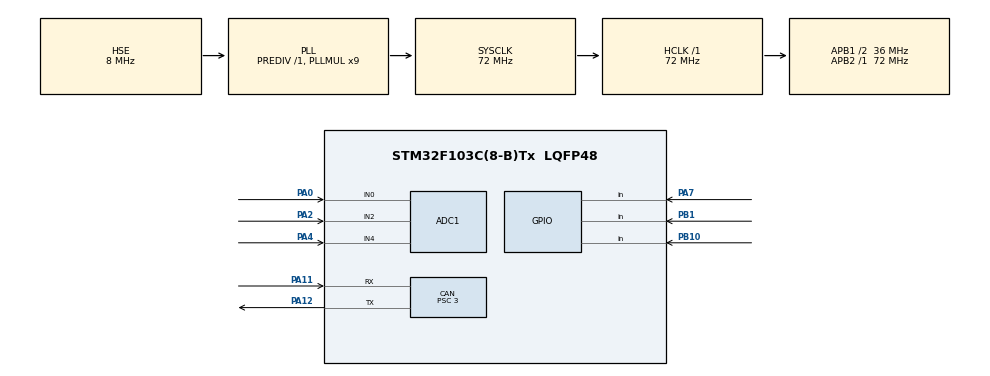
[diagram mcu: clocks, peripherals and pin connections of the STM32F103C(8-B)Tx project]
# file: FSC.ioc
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ADC1.Channel-0\#ChannelRegularConversion=ADC_CHANNEL_0
ADC1.Channel-1\#ChannelRegularConversion=ADC_CHANNEL_2
ADC1.Channel-2\#ChannelRegularConversion=ADC_CHANNEL_4
ADC1.ContinuousConvMode=ENABLE
ADC1.NbrOfConversion=3
ADC1.NbrOfConversionFlag=1
ADC1.Rank-0\#ChannelRegularConversion=1
ADC1.Rank-1\#ChannelRegularConversion=2
ADC1.Rank-2\#ChannelRegularConversion=3
ADC1.SamplingTime-0\#ChannelRegularConversion=ADC_SAMPLETIME_239CYCLES_5
ADC1.SamplingTime-1\#ChannelRegularConversion=ADC_SAMPLETIME_239CYCLES_5
ADC1.SamplingTime-2\#ChannelRegularConversion=ADC_SAMPLETIME_239CYCLES_5
ADC1.master=1
CAN.BS1=CAN_BS1_9TQ
CAN.BS2=CAN_BS2_2TQ
CAN.CalculateTimeBit=1000
CAN.CalculateTimeQuantum=83.33333333333334
CAN.Mode=CAN_MODE_NORMAL
CAN.NART=ENABLE
CAN.Prescaler=3
CAN.SJW=CAN_SJW_1TQ
CAN.TTCM=ENABLE
Dma.ADC1.0.Direction=DMA_PERIPH_TO_MEMORY
Dma.ADC1.0.Instance=DMA1_Channel1
Dma.ADC1.0.MemDataAlignment=DMA_MDATAALIGN_WORD
Dma.ADC1.0.MemInc=DMA_MINC_ENABLE
Dma.ADC1.0.Mode=DMA_CIRCULAR
Dma.ADC1.0.PeriphDataAlignment=DMA_PDATAALIGN_WORD
Dma.ADC1.0.PeriphInc=DMA_PINC_DISABLE
Dma.ADC1.0.Priority=DMA_PRIORITY_LOW
Dma.Request0=ADC1
Mcu.Family=STM32F1
Mcu.Name=STM32F103C(8-B)Tx
Mcu.Package=LQFP48
NVIC.ADC1_2_IRQn=true\:0\:0\:false\:false\:true\:true\:true
NVIC.DMA1_Channel1_IRQn=true\:0\:0\:false\:false\:true\:false\:true
NVIC.PriorityGroup=NVIC_PRIORITYGROUP_4
NVIC.USB_LP_CAN1_RX0_IRQn=true\:0\:0\:false\:false\:true\:true\:true
PA0-WKUP.Signal=ADCx_IN0
PA11.Mode=Master
PA11.Signal=CAN_RX
PA12.Mode=Master
PA12.Signal=CAN_TX
PA13.Mode=Serial_Wire
PA13.Signal=SYS_JTMS-SWDIO
PA14.Mode=Serial_Wire
PA14.Signal=SYS_JTCK-SWCLK
PA2.Signal=ADCx_IN2
PA4.Signal=ADCx_IN4
PA7.GPIO_PuPd=GPIO_PULLUP
PA7.Signal=GPIO_Input
PB1.GPIO_PuPd=GPIO_PULLUP
PB1.Signal=GPIO_Input
PB10.GPIO_PuPd=GPIO_PULLUP
PB10.Signal=GPIO_Input
PD0-OSC_IN.Mode=HSE-External-Oscillator
PD0-OSC_IN.Signal=RCC_OSC_IN
PD1-OSC_OUT.Mode=HSE-External-Oscillator
PD1-OSC_OUT.Signal=RCC_OSC_OUT
ProjectManager.HeapSize=0x200
ProjectManager.StackSize=0x400
ProjectManager.TargetToolchain=MDK-ARM V5
RCC.ADCPresc=RCC_ADCPCLK2_DIV6
RCC.AHBFreq_Value=72000000
RCC.APB1CLKDivider=RCC_HCLK_DIV2
RCC.APB1Freq_Value=36000000
RCC.APB1TimFreq_Value=72000000
RCC.APB2Freq_Value=72000000
RCC.APB2TimFreq_Value=72000000
RCC.HCLKFreq_Value=72000000
RCC.PLLMUL=RCC_PLL_MUL9
RCC.PLLSourceVirtual=RCC_PLLSOURCE_HSE
RCC.SYSCLKFreq_VALUE=72000000
RCC.SYSCLKSource=RCC_SYSCLKSOURCE_PLLCLK
RCC.USBFreq_Value=72000000
SH.ADCx_IN0.0=ADC1_IN0,IN0
SH.ADCx_IN2.0=ADC1_IN2,IN2
SH.ADCx_IN4.0=ADC1_IN4,IN4
board=custom

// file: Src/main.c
/* USER CODE BEGIN Header */
/**
  ******************************************************************************
  * @file           : main.c
  * @brief          : Main program body
  ******************************************************************************
  * @attention
  *
  * <h2><center>&copy; Copyright (c) 2020 STMicroelectronics.
  * All rights reserved.</center></h2>
  *
  * This software component is licensed by ST under BSD 3-Clause license,
  * the "License"; You may not use this file except in compliance with the
  * License. You may obtain a copy of the License at:
  *                        opensource.org/licenses/BSD-3-Clause
  *
  ******************************************************************************
  */
/* USER CODE END Header */
#include "main.h"
#include "adc.h"
#include "can.h"
#include "dma.h"
#include "gpio.h"

/* USER CODE BEGIN PTD */
CAN_FilterTypeDef set_Filter_up;
CAN_TxHeaderTypeDef TxHeader;
CAN_RxHeaderTypeDef RxHeader;
uint32_t TxMailbox;

/* USER CODE END PTD */

/* USER CODE BEGIN PV */
volatile uint8_t flag_can = 1;
uint8_t Can_Data_Send[9];
int i;
uint32_t data[3], value[3], adc_buffer[3];

uint8_t adc_buffer_count = 0;
uint32_t Acc[3] = {0,0,0};
/* USER CODE END PV */

void SystemClock_Config(void);

/* USER CODE BEGIN 0 */
void Can_Rx_Wait(void);
void CAN_Setup(void);
void HAL_ADC_ConvCpltCallback(ADC_HandleTypeDef* hadc);
void CAN_Send_ADC(void);
void CAN_Send_GPIO(void);
/* USER CODE END 0 */

int main(void)
{

  /* MCU Configuration--------------------------------------------------------*/

  /* Reset of all peripherals, Initializes the Flash interface and the Systick. */
  HAL_Init();

  /* Configure the system clock */
  SystemClock_Config();

  /* Initialize all configured peripherals */
  MX_GPIO_Init();
  MX_DMA_Init();
  MX_CAN_Init();
  MX_ADC1_Init();
  /* USER CODE BEGIN 2 */
	CAN_Setup();
	HAL_ADC_Start_DMA( &hadc1 , adc_buffer , 3 );
  /* USER CODE END 2 */

  /* Infinite loop */
  while (1)
  {

  }
}

void SystemClock_Config(void)
{
  RCC_OscInitTypeDef RCC_OscInitStruct = {0};
  RCC_ClkInitTypeDef RCC_ClkInitStruct = {0};
  RCC_PeriphCLKInitTypeDef PeriphClkInit = {0};

  /** Initializes the RCC Oscillators according to the specified parameters
  * in the RCC_OscInitTypeDef structure.
  */
  RCC_OscInitStruct.OscillatorType = RCC_OSCILLATORTYPE_HSE;
  RCC_OscInitStruct.HSEState = RCC_HSE_ON;
  RCC_OscInitStruct.HSEPredivValue = RCC_HSE_PREDIV_DIV1;
  RCC_OscInitStruct.HSIState = RCC_HSI_ON;
  RCC_OscInitStruct.PLL.PLLState = RCC_PLL_ON;
  RCC_OscInitStruct.PLL.PLLSource = RCC_PLLSOURCE_HSE;
  RCC_OscInitStruct.PLL.PLLMUL = RCC_PLL_MUL9;
  if (HAL_RCC_OscConfig(&RCC_OscInitStruct) != HAL_OK)
  {
    Error_Handler();
  }
  /** Initializes the CPU, AHB and APB buses clocks
  */
  RCC_ClkInitStruct.ClockType = RCC_CLOCKTYPE_HCLK|RCC_CLOCKTYPE_SYSCLK
                              |RCC_CLOCKTYPE_PCLK1|RCC_CLOCKTYPE_PCLK2;
  RCC_ClkInitStruct.SYSCLKSource = RCC_SYSCLKSOURCE_PLLCLK;
  RCC_ClkInitStruct.AHBCLKDivider = RCC_SYSCLK_DIV1;
  RCC_ClkInitStruct.APB1CLKDivider = RCC_HCLK_DIV2;
  RCC_ClkInitStruct.APB2CLKDivider = RCC_HCLK_DIV1;

  if (HAL_RCC_ClockConfig(&RCC_ClkInitStruct, FLASH_LATENCY_2) != HAL_OK)
  {
    Error_Handler();
  }
  PeriphClkInit.PeriphClockSelection = RCC_PERIPHCLK_ADC;
  PeriphClkInit.AdcClockSelection = RCC_ADCPCLK2_DIV6;
  if (HAL_RCCEx_PeriphCLKConfig(&PeriphClkInit) != HAL_OK)
  {
    Error_Handler();
  }
}

/* USER CODE BEGIN 4 */
void CAN_Setup(void){
//---------Configurações de filtro e máscara---------

	set_Filter_up.FilterIdHigh = 0x400<<5;
	set_Filter_up.FilterIdLow = 0;
	set_Filter_up.FilterMaskIdHigh = 0x700<<5;
	set_Filter_up.FilterMaskIdLow = 0;
	set_Filter_up.FilterFIFOAssignment = CAN_FILTER_FIFO0;
	set_Filter_up.FilterBank = 0;
	set_Filter_up.FilterMode = CAN_FILTERMODE_IDMASK;
	set_Filter_up.FilterScale = CAN_FILTERSCALE_32BIT;
	set_Filter_up.FilterActivation = ENABLE;
	HAL_CAN_ConfigFilter(&hcan, &set_Filter_up);

//---------Configurações do envio--------------------

	TxHeader.IDE = CAN_ID_STD;
	TxHeader.RTR = CAN_RTR_DATA;

//---------Início do funcionamento CAN---------------

	HAL_CAN_Start(&hcan);
	HAL_CAN_ActivateNotification(&hcan, CAN_IT_RX_FIFO0_MSG_PENDING);

}

void Can_Rx_Wait(){
	while(flag_can);
	flag_can = 1;
}

void HAL_ADC_ConvCpltCallback(ADC_HandleTypeDef* hadc){
	if (hadc -> Instance == ADC1){
		for (  i = 0 ; i < 3 ; i++ ){
			if(adc_buffer_count < 20){ //faz a média dos 20 últimos valores coletados e envia por CAN
				adc_buffer_count++;
				Acc[i] +=adc_buffer[i];
			}else{
				value[i] = Acc[i]/20;
				Acc[i] = 0;
				adc_buffer_count = 0;

				Can_Data_Send[0] = (0x000000FF & value[0]);
				Can_Data_Send[1] = (0x0000FF00 & value[0]) >> 8;

				Can_Data_Send[2] = (0x000000FF & value[1]);
				Can_Data_Send[3] = (0x0000FF00 & value[1]) >> 8;

				Can_Data_Send[4] = (0x000000FF & value[2]);
				Can_Data_Send[5] = (0x0000FF00 & value[2]) >> 8;
			}
		}
	}

}

void CAN_Send_ADC(){
	TxHeader.DLC = 6;
	TxHeader.StdId = 0x410;
	HAL_CAN_AddTxMessage(&hcan, &TxHeader, &Can_Data_Send[0], &TxMailbox);
}

void CAN_Send_GPIO(){
	TxHeader.DLC = 3;
	TxHeader.StdId = 0x420;
	HAL_CAN_AddTxMessage(&hcan, &TxHeader, &Can_Data_Send[6], &TxMailbox);

	Can_Data_Send[6] = HAL_GPIO_ReadPin(GPIOA, GPIO_PIN_7);
	Can_Data_Send[7] = HAL_GPIO_ReadPin(GPIOB, GPIO_PIN_1);
	Can_Data_Send[8] = HAL_GPIO_ReadPin(GPIOB, GPIO_PIN_10);
}
/* USER CODE END 4 */

void Error_Handler(void)
{
}

/************************ (C) COPYRIGHT STMicroelectronics *****END OF FILE****/
